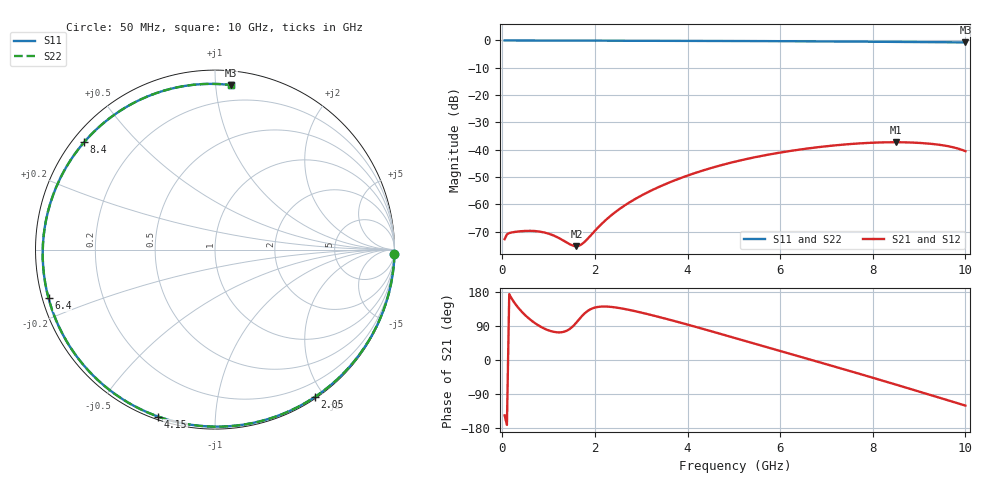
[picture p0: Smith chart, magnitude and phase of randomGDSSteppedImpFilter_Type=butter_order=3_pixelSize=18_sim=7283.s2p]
! freq	dB(S11)	phase(S11)	dB(S12)	phase(S12)
!  dB(S21)	phase(S21)	dB(S22)	phase(S22)
!S-par simulation data
#  GHz  S  DB  R 50
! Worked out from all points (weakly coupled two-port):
!   200 points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, 50 MHz to 10 GHz, reference 50 ohm
!   highest |S21| = -37.28 dB at 8.5 GHz (marker M1); lowest = -75.4 dB at 1.6 GHz (marker M2)
!   lowest |S11| = -0.7 dB at 10 GHz (marker M3), VSWR 24.32, Z = 4.53 + j54.8 ohm
!   |S11| at or under -10 dB: nowhere
!   |S22| runs from -0.7 to 0.0 dB; largest |S21 - S12| = 0
!   S11 on the Smith chart (normalised r, x): 50 MHz: 0, -82; 2.05 GHz: 0.02, -1.89; 4.15 GHz: 0.01, -0.72; 6.4 GHz: 0.02, -0.14; 8.4 GHz: 0.03, +0.36; 10 GHz: 0.09, +1.10
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0.05  -0.00 -1.4  -72.79 -146.1  -72.79 -146.1  -0.00 -1.4
0.1  -0.00 -2.8  -71.02 -171.3  -71.02 -171.3  -0.00 -2.8
0.2  -0.00 -5.6  -70.33 162.6  -70.33 162.6  -0.00 -5.6
0.75  -0.02 -20.9  -69.88 93.6  -69.88 93.6  -0.02 -20.9
1.05  -0.03 -29.1  -71.06 76.2  -71.06 76.2  -0.03 -29.1
1.6  -0.06 -44.0  -75.35 98.8  -75.35 98.8  -0.06 -44.0
1.75  -0.06 -48.0  -74.18 119.7  -74.18 119.7  -0.06 -48.0
2.05  -0.07 -55.9  -68.83 139.7  -68.83 139.7  -0.07 -55.9
2.35  -0.08 -63.7  -64.09 140.1  -64.09 140.1  -0.08 -63.7
2.65  -0.09 -71.4  -60.36 134.4  -60.36 134.4  -0.09 -71.4
3.4  -0.12 -90.4  -53.52 113.1  -53.52 113.1  -0.12 -90.4
4.15  -0.15 -108.8  -48.62 88.4  -48.62 88.4  -0.15 -108.8
5.05  -0.20 -130.5  -44.30 57.1  -44.30 57.1  -0.20 -130.5
5.75  -0.25 -147.5  -41.81 32.5  -41.81 32.5  -0.25 -147.5
6.4  -0.30 -163.7  -40.02 9.7  -40.02 9.7  -0.30 -163.7
6.7  -0.33 -171.4  -39.34 -0.7  -39.34 -0.7  -0.33 -171.4
7.55  -0.41 165.7  -37.89 -30.7  -37.89 -30.7  -0.41 165.8
8.35  -0.50 142.1  -37.29 -59.5  -37.29 -59.5  -0.50 142.1
8.4  -0.51 140.5  -37.28 -61.3  -37.28 -61.3  -0.51 140.6
8.5  -0.52 137.4  -37.28 -64.9  -37.28 -64.9  -0.52 137.4
9.3  -0.62 110.5  -37.94 -94.3  -37.94 -94.3  -0.62 110.5
10  -0.71 84.6  -40.56 -120.3  -40.56 -120.3  -0.71 84.6
